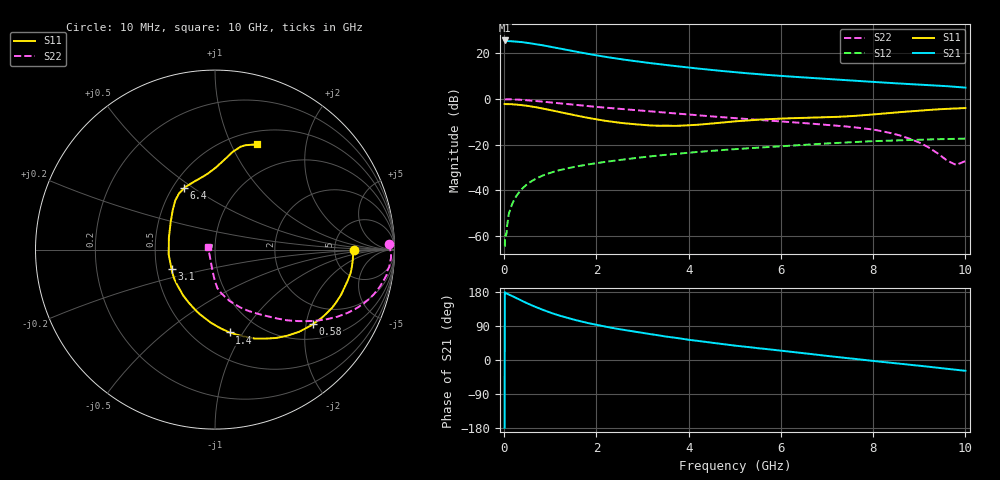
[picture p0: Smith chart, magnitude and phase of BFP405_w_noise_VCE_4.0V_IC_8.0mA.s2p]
! Infineon Technologies  Discrete & RF Semiconductors
! BFP405
! VCE =  4.0 V,  IC =  8.0 mA
! Common Emitter S-Parameters:  Jan 2016
# GHz  S  MA  R  50
!  f  S11  S21  S12  S22
! GHz  MAG  ANG  MAG  ANG  MAG  ANG  MAG  ANG
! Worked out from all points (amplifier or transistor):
!   233 points, 10 MHz to 10 GHz, reference 50 ohm
!   highest |S21| = 25.6 dB at 10 MHz (marker M1)
!   |S21| within 3 dB of that: start of sweep to 1.072 GHz
!   unconditionally stable (mu >= 1): start of sweep to 18.46 MHz; 2.939 GHz to end of sweep
!   at 200 MHz: K = 0.22, MSG = 35.0 dB, |S12| = -44.9 dB
!   at 1.74 GHz: K = 0.69, MSG = 24.5 dB, |S12| = -28.9 dB
!   at 10 GHz: K = 1.38, MAG = 7.5 dB, |S12| = -17.4 dB
!   lowest NFmin = 1.48 dB at 900 MHz
!   S11 on the Smith chart (normalised r, x): 10 MHz: 7.83, +0.00; 580 MHz: 1.40, -2.19; 1.4 GHz: 0.74, -0.87; 3.1 GHz: 0.60, -0.14; 6.4 GHz: 0.57, +0.46; 10 GHz: 0.65, +1.26
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0.01  0.7734 0.0  19.01 -178.8  0.0006 -22.7  0.9721 1.8
0.02  0.7707 -0.6  18.77 177.2  0.001 68.2  0.9751 0.2
0.05  0.7703 -3.2  18.48 176.2  0.0011 61.6  0.9806 -0.9
0.11  0.7688 -7.3  18.41 172.3  0.0033 76.6  0.9812 -2.9
0.26  0.7499 -17.4  18.03 163.4  0.0074 78.1  0.9658 -7.4
0.4  0.7285 -26.4  17.44 155.2  0.0111 75.5  0.9509 -11.0
0.58  0.6854 -37.3  16.45 145.2  0.0155 71.9  0.9206 -15.5
0.74  0.6431 -46.5  15.49 137.1  0.019 68.7  0.8896 -19.0
0.9  0.5988 -55.3  14.51 129.5  0.0223 66.0  0.8572 -22.2
1.1  0.544 -65.7  13.3 121.0  0.0259 63.0  0.8175 -25.6
1.4  0.4686 -80.0  11.6 110.0  0.0307 59.6  0.7612 -29.9
1.68  0.4104 -92.6  10.26 101.4  0.0348 57.2  0.7151 -33.2
1.98  0.3601 -106.0  9.063 93.2  0.039 54.9  0.6717 -36.3
2.3  0.3201 -120.2  8.027 85.7  0.0433 52.9  0.6312 -39.2
3.1  0.2655 -155.7  6.195 69.6  0.0543 48.2  0.5425 -46.0
3.4  0.2586 -169.2  5.689 64.1  0.0584 46.3  0.5114 -48.4
4  0.2653 165.5  4.852 53.4  0.0665 42.4  0.4547 -53.6
5.1  0.3282 135.1  3.767 36.7  0.0808 34.8  0.3729 -63.5
6.4  0.3827 116.8  2.995 19.2  0.0978 25.9  0.3014 -73.4
6.8  0.3915 109.9  2.813 13.7  0.1033 22.9  0.2804 -76.4
8.4  0.4957 84.8  2.223 -7.5  0.1227 9.1  0.1772 -89.9
10  0.6311 68.3  1.767 -28.5  0.1353 -3.7  0.0438 157.3
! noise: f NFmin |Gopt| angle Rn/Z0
0.9  1.48  0.25  8  0.32
1.8  1.74  0.19  10  0.3
2.4  1.86  0.16  14  0.3
3  1.88  0.12  33  0.28
4  2.05  0.03  -6  0.27
5  2.41  0.06  -110  0.26
